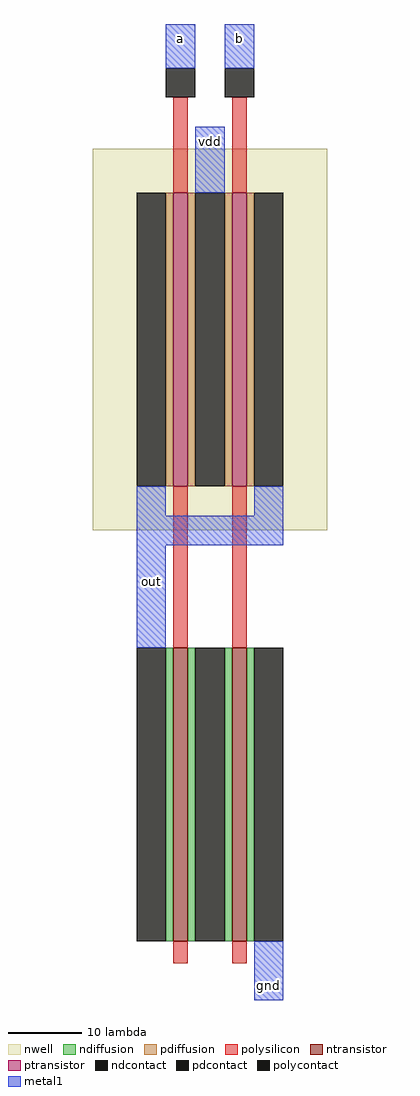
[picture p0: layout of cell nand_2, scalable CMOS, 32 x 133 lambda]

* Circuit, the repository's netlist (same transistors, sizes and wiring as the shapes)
* SPICE3 file created from NAND_2.ext - technology: scmos

.option scale=0.09u

M1000 a_2_15# a out Gnd CMOSN w=40 l=2
+  ad=240 pd=92 as=200 ps=90
M1001 vdd a out w_n11_71# CMOSP w=40 l=2
+  ad=240 pd=92 as=400 ps=180
M1002 gnd b a_2_15# Gnd CMOSN w=40 l=2
+  ad=200 pd=90 as=0 ps=0
M1003 out b vdd w_n11_71# CMOSP w=40 l=2
+  ad=0 pd=0 as=0 ps=0

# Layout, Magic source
magic
tech scmos
<< nwell >>
rect -11 71 21 123
<< ntransistor >>
rect 0 15 2 55
rect 8 15 10 55
<< ptransistor >>
rect 0 77 2 117
rect 8 77 10 117
<< ndiffusion >>
rect -1 15 0 55
rect 2 15 3 55
rect 7 15 8 55
rect 10 15 11 55
<< pdiffusion >>
rect -1 77 0 117
rect 2 77 3 117
rect 7 77 8 117
rect 10 77 11 117
<< ndcontact >>
rect -5 15 -1 55
rect 3 15 7 55
rect 11 15 15 55
<< pdcontact >>
rect -5 77 -1 117
rect 3 77 7 117
rect 11 77 15 117
<< polysilicon >>
rect 0 117 2 130
rect 8 117 10 130
rect 0 55 2 77
rect 8 55 10 77
rect 0 12 2 15
rect 8 12 10 15
<< polycontact >>
rect -1 130 3 134
rect 7 130 11 134
<< metal1 >>
rect -1 134 3 140
rect 7 134 11 140
rect 3 117 7 126
rect -5 73 -1 77
rect 11 73 15 77
rect -5 69 15 73
rect -5 55 -1 69
rect 11 7 15 15
<< labels >>
rlabel metal1 3 122 7 126 1 vdd
rlabel metal1 7 136 11 140 5 b
rlabel metal1 -1 136 3 140 5 a
rlabel metal1 11 7 15 11 1 gnd
rlabel metal1 -5 62 -1 66 1 out
rlabel space 41 -132 61 -92 1 c
<< end >>
